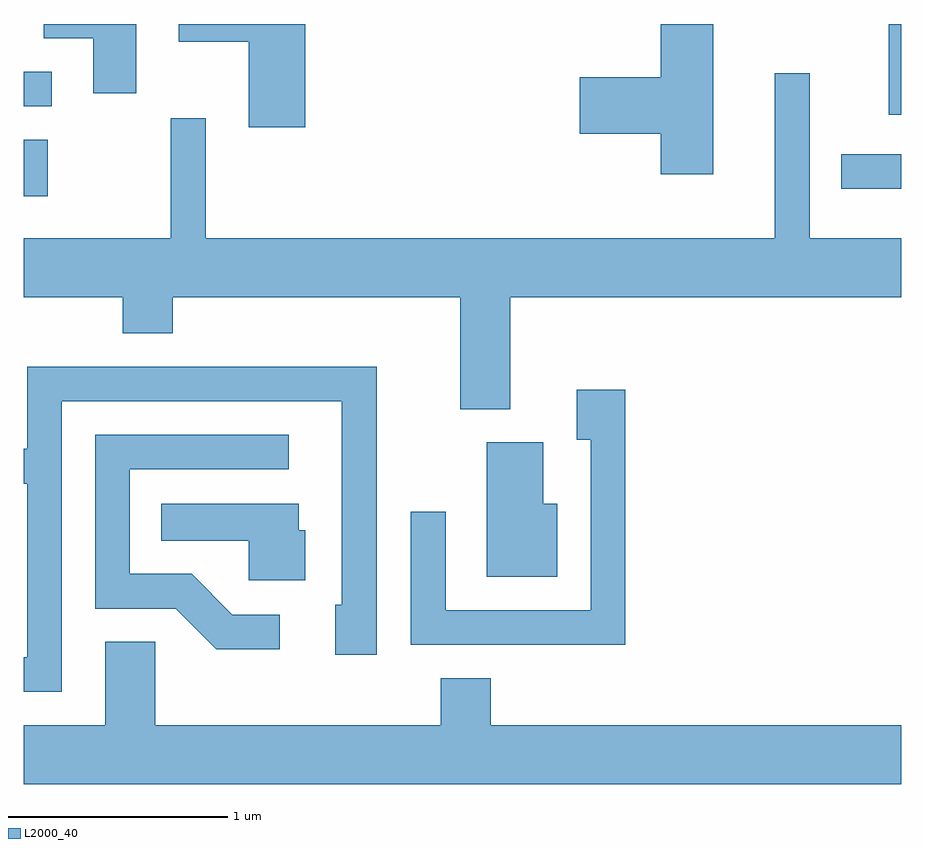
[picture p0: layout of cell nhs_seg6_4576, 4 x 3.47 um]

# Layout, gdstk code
import gdstk
lib = gdstk.Library(unit=1e-6, precision=1e-09)
def R(c, l, rs):  # rectangles x0, y0, x1, y1
    for r in rs: c.add(gdstk.rectangle(r[:2], r[2:], *l))
def P(c, l, *ps):  # polygons
    for p in ps: c.add(gdstk.Polygon(p, *l))
L2000_40 = (2000, 40)

nhs_seg6_4576 = lib.new_cell('nhs_seg6_4576')
R(nhs_seg6_4576, L2000_40, [(325.611,1559.376,325.719,1559.634), (329.338,1559.411,329.611,1559.569), (329.556,1559.748,329.611,1560.162), (325.611,1559.786,325.738,1559.944)])
P(nhs_seg6_4576, L2000_40, [(326.124,1560.162),(325.701,1560.162),(325.701,1560.096),(325.926,1560.096),(325.926,1559.846),(326.124,1559.846)],
  [(326.894,1560.162),(326.316,1560.162),(326.316,1560.081),(326.636,1560.081),(326.636,1559.691),(326.894,1559.691)],
  [(328.754,1560.162),(328.516,1560.162),(328.516,1559.919),(328.146,1559.919),(328.146,1559.661),(328.516,1559.661),(328.516,1559.476),(328.754,1559.476)],
  [(327.829,1558.916),(329.611,1558.916),(329.611,1559.184),(329.194,1559.184),(329.194,1559.938),(329.036,1559.938),(329.036,1559.184),(326.439,1559.184),(326.439,1559.733),(326.281,1559.733),(326.281,1559.184),(325.611,1559.184),(325.611,1558.916),(326.061,1558.916),(326.061,1558.751),(326.289,1558.751),(326.289,1558.916),(327.601,1558.916),(327.601,1558.406),(327.829,1558.406)],
  [(325.784,1558.441),(327.061,1558.441),(327.061,1557.514),(327.031,1557.514),(327.031,1557.286),(327.219,1557.286),(327.219,1558.599),(325.626,1558.599),(325.626,1558.224),(325.611,1558.224),(325.611,1558.066),(325.626,1558.066),(325.626,1557.274),(325.611,1557.274),(325.611,1557.116),(325.784,1557.116)],
  [(328.354,1558.494),(328.131,1558.494),(328.131,1558.266),(328.196,1558.266),(328.196,1557.489),(327.534,1557.489),(327.534,1557.938),(327.376,1557.938),(327.376,1557.331),(328.354,1557.331)],
  [(326.778,1557.469),(326.562,1557.469),(326.377,1557.654),(326.094,1557.654),(326.094,1558.131),(326.818,1558.131),(326.818,1558.289),(325.936,1558.289),(325.936,1557.496),(326.304,1557.496),(326.489,1557.311),(326.778,1557.311)],
  [(328.044,1557.974),(327.979,1557.974),(327.979,1558.254),(327.721,1558.254),(327.721,1557.641),(328.044,1557.641)],
  [(326.894,1557.854),(326.864,1557.854),(326.864,1557.974),(326.238,1557.974),(326.238,1557.806),(326.636,1557.806),(326.636,1557.626),(326.894,1557.626)],
  [(329.611,1556.964),(327.739,1556.964),(327.739,1557.179),(327.511,1557.179),(327.511,1556.964),(326.209,1556.964),(326.209,1557.344),(325.981,1557.344),(325.981,1556.964),(325.611,1556.964),(325.611,1556.696),(329.611,1556.696)])

lib.write_gds('nhs_seg6_4576.gds')
